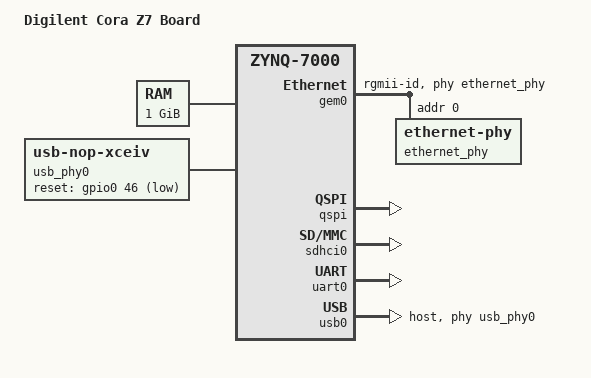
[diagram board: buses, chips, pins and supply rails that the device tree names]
// SPDX-License-Identifier: GPL-2.0+
/*
 *  Copyright (C) 2011 - 2015 Xilinx
 *  Copyright (C) 2012 National Instruments Corp.
 */
/dts-v1/;
#include "zynq-7000.dtsi"
#include <dt-bindings/gpio/gpio.h>

/ {
	model = "Digilent Cora Z7 Board";
	compatible = "digilent,zynq-cora-z7", "xlnx,zynq-7000";

	aliases {
		ethernet0 = &gem0;
		serial0 = &uart0;
		spi0 = &qspi;
		mmc0 = &sdhci0;
	};

	memory@0 {
		device_type = "memory";
		reg = <0x0 0x40000000>;
	};

	chosen {
		bootargs = "";
		stdout-path = "serial0:115200n8";
	};

	usb_phy0: phy0 {
		#phy-cells = <0>;
		compatible = "usb-nop-xceiv";
		reset-gpios = <&gpio0 46 GPIO_ACTIVE_LOW>;
	};
};

&clkc {
	ps-clk-frequency = <50000000>;
};

&gem0 {
	status = "okay";
	phy-mode = "rgmii-id";
	phy-handle = <&ethernet_phy>;

	ethernet_phy: ethernet-phy@0 {
		reg = <0>;
	};
};

&qspi {
	bootph-all;
	status = "okay";
};

&sdhci0 {
	bootph-all;
	status = "okay";
};

&uart0 {
	bootph-all;
	status = "okay";
};

&usb0 {
	status = "okay";
	dr_mode = "host";
	usb-phy = <&usb_phy0>;
};
